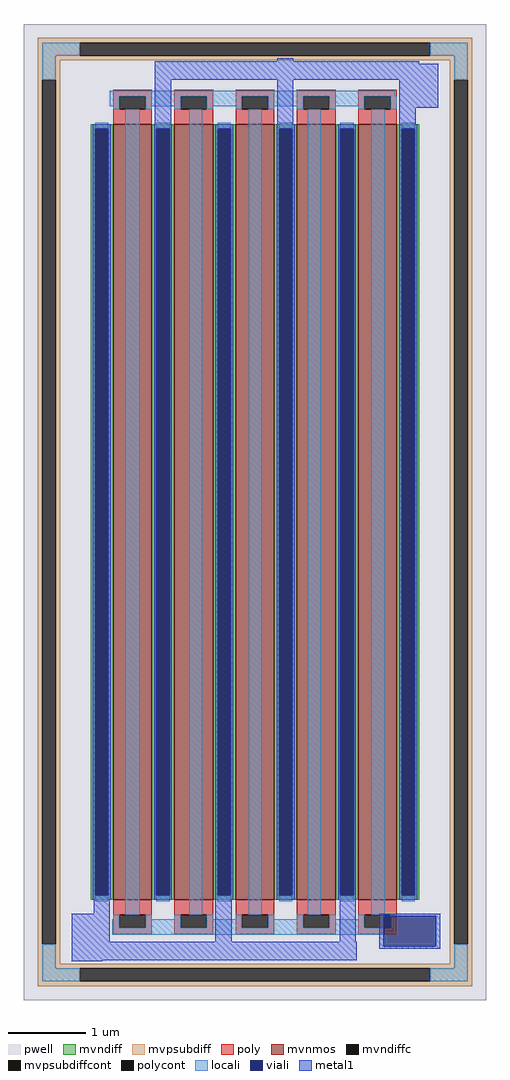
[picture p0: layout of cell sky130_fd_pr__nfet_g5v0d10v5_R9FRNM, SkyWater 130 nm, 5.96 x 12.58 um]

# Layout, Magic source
magic
tech sky130A
magscale 1 2
<< pwell >>
rect -596 -1258 596 1258
<< mvnmos >>
rect -366 -1000 -266 1000
rect -208 -1000 -108 1000
rect -50 -1000 50 1000
rect 108 -1000 208 1000
rect 266 -1000 366 1000
<< mvndiff >>
rect -424 988 -366 1000
rect -424 -988 -412 988
rect -378 -988 -366 988
rect -424 -1000 -366 -988
rect -266 988 -208 1000
rect -266 -988 -254 988
rect -220 -988 -208 988
rect -266 -1000 -208 -988
rect -108 988 -50 1000
rect -108 -988 -96 988
rect -62 -988 -50 988
rect -108 -1000 -50 -988
rect 50 988 108 1000
rect 50 -988 62 988
rect 96 -988 108 988
rect 50 -1000 108 -988
rect 208 988 266 1000
rect 208 -988 220 988
rect 254 -988 266 988
rect 208 -1000 266 -988
rect 366 988 424 1000
rect 366 -988 378 988
rect 412 -988 424 988
rect 366 -1000 424 -988
<< mvndiffc >>
rect -412 -988 -378 988
rect -254 -988 -220 988
rect -96 -988 -62 988
rect 62 -988 96 988
rect 220 -988 254 988
rect 378 -988 412 988
<< mvpsubdiff >>
rect -560 1210 560 1222
rect -560 1176 -452 1210
rect 452 1176 560 1210
rect -560 1164 560 1176
rect -560 1114 -502 1164
rect -560 -1114 -548 1114
rect -514 -1114 -502 1114
rect 502 1114 560 1164
rect -560 -1164 -502 -1114
rect 502 -1114 514 1114
rect 548 -1114 560 1114
rect 502 -1164 560 -1114
rect -560 -1176 560 -1164
rect -560 -1210 -452 -1176
rect 452 -1210 560 -1176
rect -560 -1222 560 -1210
<< mvpsubdiffcont >>
rect -452 1176 452 1210
rect -548 -1114 -514 1114
rect 514 -1114 548 1114
rect -452 -1210 452 -1176
<< poly >>
rect -366 1072 -266 1088
rect -366 1038 -350 1072
rect -282 1038 -266 1072
rect -366 1000 -266 1038
rect -208 1072 -108 1088
rect -208 1038 -192 1072
rect -124 1038 -108 1072
rect -208 1000 -108 1038
rect -50 1072 50 1088
rect -50 1038 -34 1072
rect 34 1038 50 1072
rect -50 1000 50 1038
rect 108 1072 208 1088
rect 108 1038 124 1072
rect 192 1038 208 1072
rect 108 1000 208 1038
rect 266 1072 366 1088
rect 266 1038 282 1072
rect 350 1038 366 1072
rect 266 1000 366 1038
rect -366 -1038 -266 -1000
rect -366 -1072 -350 -1038
rect -282 -1072 -266 -1038
rect -366 -1088 -266 -1072
rect -208 -1038 -108 -1000
rect -208 -1072 -192 -1038
rect -124 -1072 -108 -1038
rect -208 -1088 -108 -1072
rect -50 -1038 50 -1000
rect -50 -1072 -34 -1038
rect 34 -1072 50 -1038
rect -50 -1088 50 -1072
rect 108 -1038 208 -1000
rect 108 -1072 124 -1038
rect 192 -1072 208 -1038
rect 108 -1088 208 -1072
rect 266 -1038 366 -1000
rect 266 -1072 282 -1038
rect 350 -1072 366 -1038
rect 266 -1088 366 -1072
<< polycont >>
rect -350 1038 -282 1072
rect -192 1038 -124 1072
rect -34 1038 34 1072
rect 124 1038 192 1072
rect 282 1038 350 1072
rect -350 -1072 -282 -1038
rect -192 -1072 -124 -1038
rect -34 -1072 34 -1038
rect 124 -1072 192 -1038
rect 282 -1072 350 -1038
<< locali >>
rect -548 1176 -452 1210
rect 452 1176 548 1210
rect -548 1114 -514 1176
rect 514 1114 548 1176
rect -374 1072 360 1086
rect -374 1046 -350 1072
rect -366 1038 -350 1046
rect -282 1046 -192 1072
rect -282 1038 -266 1046
rect -208 1038 -192 1046
rect -124 1046 -34 1072
rect -124 1038 -108 1046
rect -50 1038 -34 1046
rect 34 1046 124 1072
rect 34 1038 50 1046
rect 108 1038 124 1046
rect 192 1046 282 1072
rect 192 1038 208 1046
rect 266 1038 282 1046
rect 350 1038 366 1072
rect -412 988 -378 1004
rect -412 -1004 -378 -988
rect -334 -1038 -297 1038
rect -254 988 -220 1004
rect -254 -1004 -220 -988
rect -170 -1038 -136 1038
rect -96 988 -62 1004
rect -96 -1004 -62 -988
rect -16 -1038 18 1038
rect 62 988 96 1004
rect 62 -1004 96 -988
rect 136 -1038 170 1038
rect 220 988 254 1004
rect 220 -1004 254 -988
rect 300 -1038 334 1038
rect 378 988 412 1004
rect 378 -1004 412 -988
rect -366 -1050 -350 -1038
rect -368 -1072 -350 -1050
rect -282 -1050 -266 -1038
rect -208 -1050 -192 -1038
rect -282 -1072 -192 -1050
rect -124 -1050 -108 -1038
rect -50 -1050 -34 -1038
rect -124 -1072 -34 -1050
rect 34 -1050 50 -1038
rect 108 -1050 124 -1038
rect 34 -1072 124 -1050
rect 192 -1050 208 -1038
rect 266 -1050 282 -1038
rect 350 -1042 366 -1038
rect 192 -1072 282 -1050
rect -368 -1090 332 -1072
rect -548 -1176 -514 -1114
rect 514 -1176 548 -1114
rect -548 -1210 -452 -1176
rect 452 -1210 548 -1176
<< viali >>
rect -412 -988 -378 988
rect -254 -988 -220 988
rect -96 -988 -62 988
rect 62 -988 96 988
rect 220 -988 254 988
rect 378 -988 412 988
rect 332 -1072 350 -1042
rect 350 -1072 466 -1042
rect 332 -1120 466 -1072
<< metal1 >>
rect 57 1162 99 1170
rect -258 1156 424 1162
rect -258 1114 472 1156
rect -258 1000 -216 1114
rect 57 1000 99 1114
rect 372 1042 472 1114
rect 372 1000 414 1042
rect -418 988 -372 1000
rect -418 -988 -412 988
rect -378 -988 -372 988
rect -418 -1000 -372 -988
rect -260 988 -214 1000
rect -260 -988 -254 988
rect -220 -988 -214 988
rect -260 -1000 -214 -988
rect -102 988 -56 1000
rect -102 -988 -96 988
rect -62 -988 -56 988
rect -102 -1000 -56 -988
rect 56 988 102 1000
rect 56 -988 62 988
rect 96 -988 102 988
rect 56 -1000 102 -988
rect 214 988 260 1000
rect 214 -988 220 988
rect 254 -988 260 988
rect 214 -1000 260 -988
rect 372 988 418 1000
rect 372 -988 378 988
rect 412 -988 418 988
rect 372 -1000 418 -988
rect -416 -1036 -374 -1000
rect -472 -1108 -374 -1036
rect -102 -1108 -60 -1000
rect 218 -1108 260 -1000
rect 320 -1042 478 -1036
rect -472 -1156 262 -1108
rect 320 -1120 332 -1042
rect 466 -1120 478 -1042
rect 320 -1126 478 -1120
rect -472 -1158 -392 -1156
<< properties >>
string FIXED_BBOX -531 -1193 531 1193
string gencell sky130_fd_pr__nfet_g5v0d10v5
string library sky130
string parameters w 10 l 0.50 m 1 nf 5 diffcov 100 polycov 100 guard 1 glc 1 grc 1 gtc 1 gbc 1 tbcov 100 rlcov 100 topc 1 botc 1 poverlap 0 doverlap 1 lmin 0.50 wmin 0.42 class mosfet compatible {sky130_fd_pr__nfet_01v8 sky130_fd_pr__nfet_01v8_lvt  sky130_fd_bs_flash__special_sonosfet_star  sky130_fd_pr__nfet_g5v0d10v5 sky130_fd_pr__nfet_05v0_nvt  sky130_fd_pr__nfet_03v3_nvt} full_metal 1 conn_gates 0 viasrc 100 viadrn 100 viagate 100 viagb 0 viagr 0 viagl 0 viagt 0 doports 1
<< end >>
